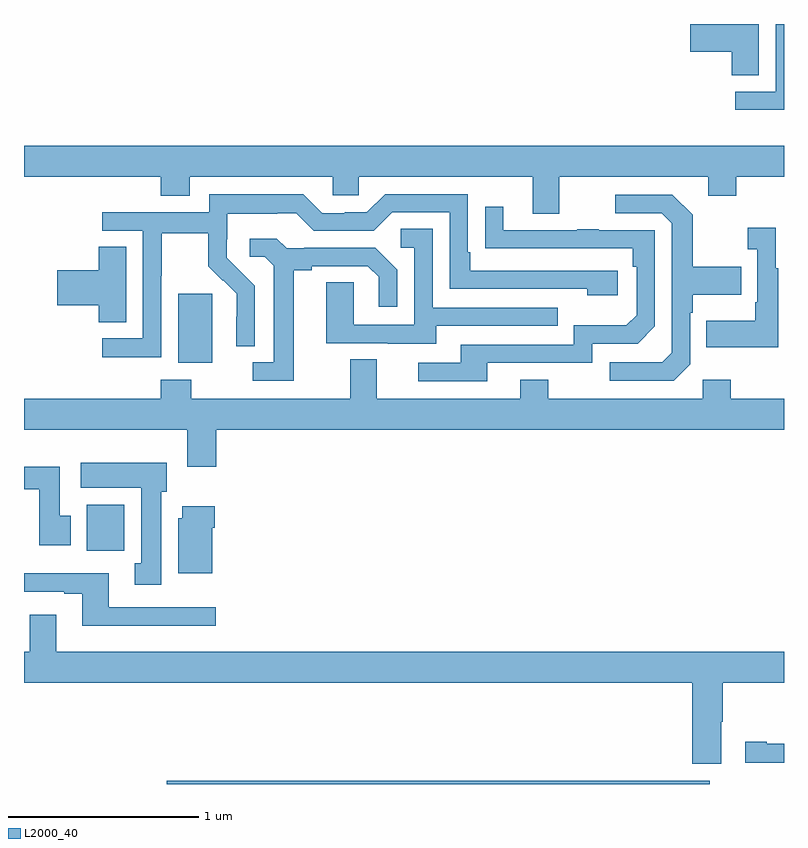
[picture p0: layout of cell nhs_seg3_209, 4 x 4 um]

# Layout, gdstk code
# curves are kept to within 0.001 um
import gdstk
lib = gdstk.Library(unit=1e-6, precision=1e-09)
def R(c, l, rs):  # rectangles x0, y0, x1, y1
    for r in rs: c.add(gdstk.rectangle(r[:2], r[2:], *l))
def P(c, l, *ps):  # polygons
    for p in ps: c.add(gdstk.Polygon(p, *l))
L2000_40 = (2000, 40)

nhs_seg3_209 = lib.new_cell('nhs_seg3_209')
R(nhs_seg3_209, L2000_40, [(121.751,684.4,124.608,684.416), (121.331,685.628,121.528,685.87), (121.811,686.618,121.99,686.979)])
P(nhs_seg3_209, L2000_40, [(124.867,688.4),(124.506,688.4),(124.506,688.253),(124.724,688.253),(124.724,688.129),(124.867,688.129)],
  [(125,688.4),(124.956,688.4),(124.956,688.044),(124.743,688.044),(124.743,687.948),(125,687.948)],
  [(123.817,687.596),(124.601,687.596),(124.601,687.497),(124.749,687.497),(124.749,687.596),(125,687.596),(125,687.76),(121,687.76),(121,687.596),(121.721,687.596),(121.721,687.497),(121.873,687.497),(121.873,687.596),(122.625,687.596),(122.625,687.498),(122.763,687.498),(122.763,687.596),(123.677,687.596),(123.677,687.402),(123.817,687.402)],
  [(121.722,687.076),(121.725,687.076),(121.725,687.3),(121.969,687.3),(121.969,687.125),(122.046,687.048),(122.049,687.051),(122.12,686.981),(122.12,686.858),(122.118,686.858),(122.118,686.704),(122.214,686.704),(122.214,687.022),(122.068,687.17),(122.068,687.267),(122.07,687.267),(122.07,687.401),(122.333,687.401),(122.333,687.405),(122.433,687.405),(122.526,687.312),(122.841,687.312),(122.937,687.408),(123.24,687.408),(123.24,687.006),(123.965,687.006),(123.965,686.972),(124.126,686.972),(124.126,687.102),(123.349,687.102),(123.349,687.199),(123.336,687.199),(123.336,687.504),(122.901,687.504),(122.805,687.408),(122.687,687.408),(122.687,687.405),(122.571,687.405),(122.471,687.505),(121.974,687.505),(121.974,687.408),(121.413,687.408),(121.413,687.312),(121.626,687.312),(121.626,686.745),(121.413,686.745),(121.413,686.647),(121.722,686.647)],
  [(124.506,686.61),(124.506,686.879),(124.519,686.879),(124.519,686.975),(124.775,686.975),(124.775,687.123),(124.519,687.123),(124.519,687.395),(124.413,687.501),(124.113,687.501),(124.113,687.405),(124.356,687.405),(124.41,687.351),(124.41,686.67),(124.359,686.619),(124.083,686.619),(124.083,686.523),(124.419,686.523)],
  [(123.439,686.616),(123.99,686.616),(123.99,686.718),(124.23,686.718),(124.32,686.808),(124.32,687.315),(124.025,687.315),(124.025,687.32),(123.913,687.32),(123.913,687.315),(123.523,687.315),(123.523,687.439),(123.427,687.439),(123.427,687.22),(124.204,687.219),(124.204,687.122),(124.224,687.122),(124.224,686.868),(124.171,686.815),(123.894,686.815),(123.894,686.712),(123.299,686.712),(123.299,686.616),(123.075,686.616),(123.075,686.52),(123.439,686.52)],
  [(124.969,687.115),(124.957,687.115),(124.957,687.328),(124.809,687.328),(124.809,687.215),(124.86,687.215),(124.86,686.935),(124.848,686.935),(124.848,686.839),(124.591,686.839),(124.591,686.699),(124.969,686.699)],
  [(123.169,686.811),(123.809,686.811),(123.809,686.907),(123.15,686.907),(123.15,687.323),(122.982,687.323),(122.982,687.222),(123.054,687.222),(123.054,686.817),(122.736,686.817),(122.736,687.041),(122.591,687.041),(122.591,686.721),(122.915,686.721),(122.915,686.717),(123.169,686.717)],
  [(122.419,687.104),(122.515,687.104),(122.515,687.126),(122.81,687.126),(122.867,687.069),(122.867,686.913),(122.964,686.913),(122.964,687.106),(122.848,687.222),(122.476,687.222),(122.476,687.219),(122.382,687.219),(122.33,687.271),(122.187,687.271),(122.187,687.174),(122.268,687.174),(122.315,687.127),(122.315,686.619),(122.205,686.619),(122.205,686.523),(122.419,686.523)],
  [(121.537,687.227),(121.394,687.227),(121.394,687.104),(121.176,687.104),(121.176,686.921),(121.394,686.921),(121.394,686.83),(121.537,686.83)],
  [(122.012,686.264),(125,686.264),(125,686.428),(124.719,686.428),(124.719,686.527),(124.572,686.527),(124.572,686.428),(123.759,686.428),(123.759,686.527),(123.611,686.527),(123.611,686.428),(122.857,686.428),(122.857,686.636),(122.717,686.636),(122.717,686.428),(121.881,686.428),(121.881,686.527),(121.721,686.527),(121.721,686.428),(121,686.428),(121,686.264),(121.859,686.264),(121.859,686.07),(122.012,686.07)],
  [(121.723,685.938),(121.75,685.938),(121.75,686.092),(121.299,686.092),(121.299,685.958),(121.616,685.958),(121.616,685.562),(121.583,685.562),(121.583,685.449),(121.723,685.449)],
  [(121.246,685.812),(121.189,685.812),(121.189,686.071),(121,686.071),(121,685.952),(121.079,685.952),(121.079,685.656),(121.246,685.656)],
  [(121.99,685.748),(122.003,685.748),(122.003,685.861),(121.832,685.861),(121.832,685.8),(121.811,685.8),(121.811,685.508),(121.99,685.508)],
  [(122.008,685.329),(121.447,685.329),(121.447,685.51),(121,685.51),(121,685.413),(121.211,685.413),(121.211,685.401),(121.307,685.401),(121.307,685.232),(122.008,685.232)],
  [(124.669,684.728),(124.677,684.728),(124.677,684.932),(125,684.932),(125,685.096),(121.171,685.096),(121.171,685.291),(121.031,685.291),(121.031,685.096),(121,685.096),(121,684.932),(124.517,684.932),(124.517,684.507),(124.669,684.507)],
  [(125,684.612),(124.909,684.612),(124.909,684.622),(124.797,684.622),(124.797,684.512),(125,684.512)])

lib.write_gds('nhs_seg3_209.gds')
